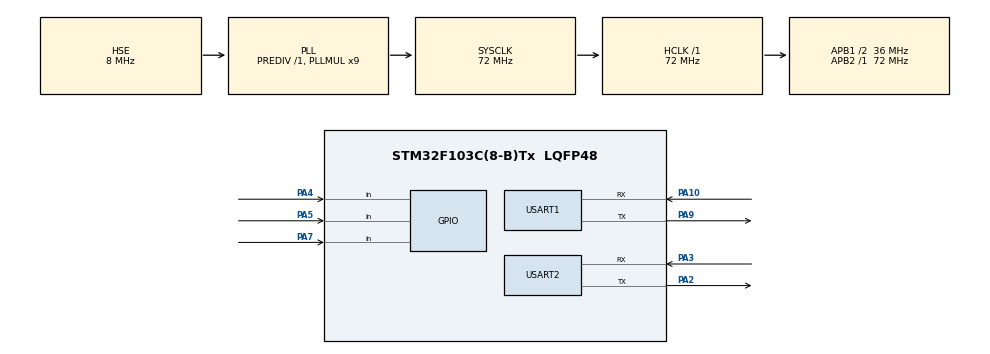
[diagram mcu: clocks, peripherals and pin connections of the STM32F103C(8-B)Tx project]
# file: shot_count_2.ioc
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Mcu.Family=STM32F1
Mcu.Name=STM32F103C(8-B)Tx
Mcu.Package=LQFP48
NVIC.PriorityGroup=NVIC_PRIORITYGROUP_4
PA10.Mode=Asynchronous
PA10.Signal=USART1_RX
PA13.Mode=Serial_Wire
PA13.Signal=SYS_JTMS-SWDIO
PA14.Mode=Serial_Wire
PA14.Signal=SYS_JTCK-SWCLK
PA2.Mode=Asynchronous
PA2.Signal=USART2_TX
PA3.Mode=Asynchronous
PA3.Signal=USART2_RX
PA4.GPIO_PuPd=GPIO_PULLDOWN
PA4.Signal=GPIO_Input
PA5.GPIO_PuPd=GPIO_PULLDOWN
PA5.Signal=GPIO_Input
PA7.GPIO_PuPd=GPIO_PULLDOWN
PA7.Signal=GPIO_Input
PA9.Mode=Asynchronous
PA9.Signal=USART1_TX
PC14-OSC32_IN.Mode=LSE-External-Oscillator
PC14-OSC32_IN.Signal=RCC_OSC32_IN
PC15-OSC32_OUT.Mode=LSE-External-Oscillator
PC15-OSC32_OUT.Signal=RCC_OSC32_OUT
PD0-OSC_IN.Mode=HSE-External-Oscillator
PD0-OSC_IN.Signal=RCC_OSC_IN
PD1-OSC_OUT.Mode=HSE-External-Oscillator
PD1-OSC_OUT.Signal=RCC_OSC_OUT
ProjectManager.HeapSize=0x200
ProjectManager.StackSize=0x400
ProjectManager.TargetToolchain=MDK-ARM V5.27
RCC.AHBFreq_Value=72000000
RCC.APB1CLKDivider=RCC_HCLK_DIV2
RCC.APB1Freq_Value=36000000
RCC.APB1TimFreq_Value=72000000
RCC.APB2Freq_Value=72000000
RCC.APB2TimFreq_Value=72000000
RCC.HCLKFreq_Value=72000000
RCC.PLLMUL=RCC_PLL_MUL9
RCC.PLLSourceVirtual=RCC_PLLSOURCE_HSE
RCC.SYSCLKFreq_VALUE=72000000
RCC.SYSCLKSource=RCC_SYSCLKSOURCE_PLLCLK
RCC.USBFreq_Value=72000000
USART1.VirtualMode=VM_ASYNC
USART2.VirtualMode=VM_ASYNC
board=custom

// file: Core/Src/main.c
/* USER CODE BEGIN Header */
/**
  ******************************************************************************
  * @file           : main.c
  * @brief          : Main program body
  ******************************************************************************
  * @attention
  *
  * <h2><center>&copy; Copyright (c) 2021 STMicroelectronics.
  * All rights reserved.</center></h2>
  *
  * This software component is licensed by ST under BSD 3-Clause license,
  * the "License"; You may not use this file except in compliance with the
  * License. You may obtain a copy of the License at:
  *                        opensource.org/licenses/BSD-3-Clause
  *
  ******************************************************************************
  */
/* USER CODE END Header */
#include "main.h"
#include "usart.h"
#include "gpio.h"

/* USER CODE BEGIN PV */
uint32_t DeviceID[3]={0}; //оƬȫ��ΨһID
/* USER CODE END PV */

void SystemClock_Config(void);

int main(void)
{

  /* MCU Configuration--------------------------------------------------------*/

  /* Reset of all peripherals, Initializes the Flash interface and the Systick. */
  HAL_Init();

  /* Configure the system clock */
  SystemClock_Config();

  /* Initialize all configured peripherals */
  MX_GPIO_Init();
  MX_USART1_UART_Init();
  MX_USART2_UART_Init();
  /* USER CODE BEGIN 2 */
  int total = 0;
  int num = 0;
  int delay = 1500;

  DeviceID[0] = HAL_GetUIDw0();//��ȡUID
  DeviceID[1] = HAL_GetUIDw1();
  DeviceID[2] = HAL_GetUIDw2();
  ESP8266_init();
  /* USER CODE END 2 */

  /* Infinite loop */
  /* USER CODE BEGIN WHILE */
  while (1)
  {
	  if(HAL_GPIO_ReadPin(GPIOA, GPIO_PIN_4)==GPIO_PIN_RESET){
			total++;
			ESP8266_SendShot(DeviceID);

			uint32_t tickstart = HAL_GetTick();
			uint32_t wait = delay;

		  /* Add a freq to guarantee minimum wait */
			if (wait < HAL_MAX_DELAY){
				wait += (uint32_t)(uwTickFreq);
			}

			while ((HAL_GetTick() - tickstart) < wait){
				if(HAL_GPIO_ReadPin(GPIOA,GPIO_PIN_5)==GPIO_PIN_RESET){
					num++;
					ESP8266_SendGoal(DeviceID);

					break;
				}
			}
	  }else if(HAL_GPIO_ReadPin(GPIOA, GPIO_PIN_7)==GPIO_PIN_RESET){
			total++;
			ESP8266_SendShot(DeviceID);

			uint32_t tickstart = HAL_GetTick();
			uint32_t wait = delay;

			/* Add a freq to guarantee minimum wait */
			if (wait < HAL_MAX_DELAY){
				wait += (uint32_t)(uwTickFreq);
			}
			while ((HAL_GetTick() - tickstart) < wait){
				if(HAL_GPIO_ReadPin(GPIOA, GPIO_PIN_4)==GPIO_PIN_RESET){
				uint32_t  tickstartSub = HAL_GetTick();
				uint32_t  waitSub = delay;

				/* Add a freq to guarantee minimum wait */
				if (waitSub < HAL_MAX_DELAY){
					waitSub += (uint32_t)(uwTickFreq);
				}

				while ((HAL_GetTick() - tickstartSub) < waitSub){
					if(HAL_GPIO_ReadPin(GPIOA,GPIO_PIN_5)==GPIO_PIN_RESET){
					num++;
					ESP8266_SendGoal(DeviceID);
					HAL_Delay(delay);
					break;
					}
				}
				break;
				}
			}
	  }
    /* USER CODE END WHILE */

  }
}

void SystemClock_Config(void)
{
  RCC_OscInitTypeDef RCC_OscInitStruct = {0};
  RCC_ClkInitTypeDef RCC_ClkInitStruct = {0};

  /** Initializes the RCC Oscillators according to the specified parameters
  * in the RCC_OscInitTypeDef structure.
  */
  RCC_OscInitStruct.OscillatorType = RCC_OSCILLATORTYPE_HSE;
  RCC_OscInitStruct.HSEState = RCC_HSE_ON;
  RCC_OscInitStruct.HSEPredivValue = RCC_HSE_PREDIV_DIV1;
  RCC_OscInitStruct.HSIState = RCC_HSI_ON;
  RCC_OscInitStruct.PLL.PLLState = RCC_PLL_ON;
  RCC_OscInitStruct.PLL.PLLSource = RCC_PLLSOURCE_HSE;
  RCC_OscInitStruct.PLL.PLLMUL = RCC_PLL_MUL9;
  if (HAL_RCC_OscConfig(&RCC_OscInitStruct) != HAL_OK)
  {
    Error_Handler();
  }
  /** Initializes the CPU, AHB and APB buses clocks
  */
  RCC_ClkInitStruct.ClockType = RCC_CLOCKTYPE_HCLK|RCC_CLOCKTYPE_SYSCLK
                              |RCC_CLOCKTYPE_PCLK1|RCC_CLOCKTYPE_PCLK2;
  RCC_ClkInitStruct.SYSCLKSource = RCC_SYSCLKSOURCE_PLLCLK;
  RCC_ClkInitStruct.AHBCLKDivider = RCC_SYSCLK_DIV1;
  RCC_ClkInitStruct.APB1CLKDivider = RCC_HCLK_DIV2;
  RCC_ClkInitStruct.APB2CLKDivider = RCC_HCLK_DIV1;

  if (HAL_RCC_ClockConfig(&RCC_ClkInitStruct, FLASH_LATENCY_2) != HAL_OK)
  {
    Error_Handler();
  }
}

void Error_Handler(void)
{
  __disable_irq();
  while (1)
  {
  }
}

/************************ (C) COPYRIGHT STMicroelectronics *****END OF FILE****/
